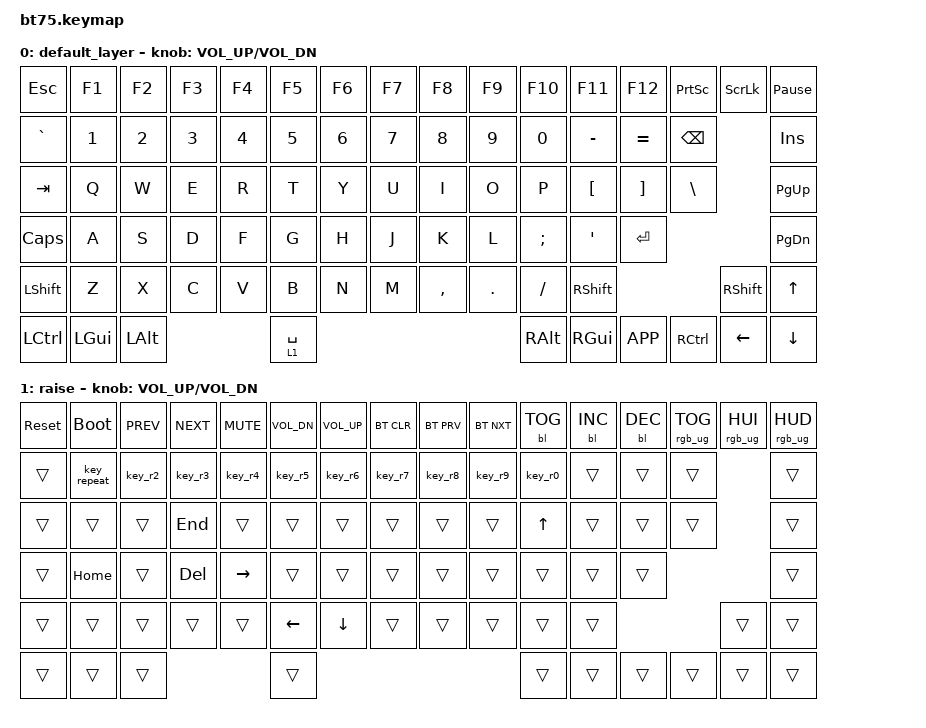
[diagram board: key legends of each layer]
#include <behaviors.dtsi>
#include <dt-bindings/zmk/keys.h>
#include <dt-bindings/zmk/bt.h>
#include <dt-bindings/zmk/rgb.h>
#include <dt-bindings/zmk/backlight.h>
#include <dt-bindings/zmk/ext_power.h>


/ {
    macros {
        key_r2: key_r2 {
            compatible = "zmk,behavior-macro";
            #binding-cells = <0>;
            bindings
                = <&macro_tap &key_repeat>
                , <&macro_tap &key_repeat>
                ;
        };
        key_r3: key_r3 {
            compatible = "zmk,behavior-macro";
            #binding-cells = <0>;
            bindings
                = <&macro_tap &key_repeat>
                , <&macro_tap &key_repeat>
                , <&macro_tap &key_repeat>
                ;
        };
        key_r4: key_r4 {
            compatible = "zmk,behavior-macro";
            #binding-cells = <0>;
            bindings
                = <&macro_tap &key_repeat>
                , <&macro_tap &key_repeat>
                , <&macro_tap &key_repeat>
                , <&macro_tap &key_repeat>
                ;
        };
        key_r5: key_r5 {
            compatible = "zmk,behavior-macro";
            #binding-cells = <0>;
            bindings
                = <&macro_tap &key_repeat>
                , <&macro_tap &key_repeat>
                , <&macro_tap &key_repeat>
                , <&macro_tap &key_repeat>
                , <&macro_tap &key_repeat>
                ;
        };
        key_r6: key_r6 {
            compatible = "zmk,behavior-macro";
            #binding-cells = <0>;
            bindings
                = <&macro_tap &key_repeat>
                , <&macro_tap &key_repeat>
                , <&macro_tap &key_repeat>
                , <&macro_tap &key_repeat>
                , <&macro_tap &key_repeat>
                , <&macro_tap &key_repeat>
                ;
        };
        key_r7: key_r7 {
            compatible = "zmk,behavior-macro";
            #binding-cells = <0>;
            bindings
                = <&macro_tap &key_repeat>
                , <&macro_tap &key_repeat>
                , <&macro_tap &key_repeat>
                , <&macro_tap &key_repeat>
                , <&macro_tap &key_repeat>
                , <&macro_tap &key_repeat>
                , <&macro_tap &key_repeat>
                ;
        };
        key_r8: key_r8 {
            compatible = "zmk,behavior-macro";
            #binding-cells = <0>;
            bindings
                = <&macro_tap &key_repeat>
                , <&macro_tap &key_repeat>
                , <&macro_tap &key_repeat>
                , <&macro_tap &key_repeat>
                , <&macro_tap &key_repeat>
                , <&macro_tap &key_repeat>
                , <&macro_tap &key_repeat>
                , <&macro_tap &key_repeat>
                ;
        };
        key_r9: key_r9 {
            compatible = "zmk,behavior-macro";
            #binding-cells = <0>;
            bindings
                = <&macro_tap &key_repeat>
                , <&macro_tap &key_repeat>
                , <&macro_tap &key_repeat>
                , <&macro_tap &key_repeat>
                , <&macro_tap &key_repeat>
                , <&macro_tap &key_repeat>
                , <&macro_tap &key_repeat>
                , <&macro_tap &key_repeat>
                , <&macro_tap &key_repeat>
                ;
        };
        key_r0: key_r0 {
            compatible = "zmk,behavior-macro";
            #binding-cells = <0>;
            bindings
                = <&macro_tap &key_repeat>
                , <&macro_tap &key_repeat>
                , <&macro_tap &key_repeat>
                , <&macro_tap &key_repeat>
                , <&macro_tap &key_repeat>
                , <&macro_tap &key_repeat>
                , <&macro_tap &key_repeat>
                , <&macro_tap &key_repeat>
                , <&macro_tap &key_repeat>
                , <&macro_tap &key_repeat>
                ;
        };
    };
};

/ {
    keymap {
        compatible = "zmk,keymap";
        default_layer {
                // ---------------------------------------------------------------------------------------------------------------------------------
                // | ESC   | F1    | F2    | F3    | F4    | F5    | F6    | F7    | F8    | F9    | F10   | F11   | F12   | PSCRN | SLCK  | PAUSE |
                // | `     | 1     | 2     | 3     | 4     | 5     | 6     | 7     | 8     | 9     | 0     | -     | =     | BKSP          | INS   |
                // | TAB       | Q     | W     | E     | R     | T     | Y     | U     | I     | O     | P     | [     | ]     | \         | PG_UP |
                // | CLCK        | A     | S     | D     | F     | G     | H     | J     | K     | L     | ;     | '     | RET             | PG_DN |
                // | LSHFT           | Z     | X     | C     | V     | B     | N     | M     | ,     | .     | /     | RSHFT       | RSHFT | UP    |
                // | LCTRL   | LGUI    | LALT    | SPACE                                           | RALT  | RGUI  | K_APP | RCTRL | LEFT  | DOWN  |
                // ---------------------------------------------------------------------------------------------------------------------------------
            bindings = <
                &kp ESC   &kp F1    &kp F2    &kp F3    &kp F4    &kp F5    &kp F6    &kp F7    &kp F8    &kp F9    &kp F10   &kp F11   &kp F12   &kp PSCRN &kp SLCK  &kp PAUSE_BREAK
                &kp GRAVE &kp N1    &kp N2    &kp N3    &kp N4    &kp N5    &kp N6    &kp N7    &kp N8    &kp N9    &kp N0    &kp MINUS &kp EQUAL &kp BKSP            &kp INS
                &kp TAB   &kp Q     &kp W     &kp E     &kp R     &kp T     &kp Y     &kp U     &kp I     &kp O     &kp P     &kp LBKT  &kp RBKT  &kp BSLH            &kp PG_UP
                &kp CLCK  &kp A     &kp S     &kp D     &kp F     &kp G     &kp H     &kp J     &kp K     &kp L     &kp SEMI  &kp SQT   &kp RET                       &kp PG_DN
                &kp LSHFT &kp Z     &kp X     &kp C     &kp V     &kp B     &kp N     &kp M     &kp COMMA &kp DOT   &kp FSLH  &kp RSHFT                     &kp RSHFT &kp UP
                &kp LCTRL &kp LGUI  &kp LALT                      &lt 1 SPACE                                       &kp RALT  &kp RGUI  &kp K_APP &kp RCTRL &kp LEFT  &kp DOWN
            >;
            sensor-bindings = <&inc_dec_kp C_VOL_UP C_VOL_DN>;
        };
        raise {
            bindings = <
                &sys_reset &bootloader &kp C_PREV &kp C_NEXT &kp C_MUTE &kp C_VOL_DN &kp C_VOL_UP &bt BT_CLR &bt BT_PRV &bt BT_NXT &bl BL_TOG &bl BL_INC &bl BL_DEC &rgb_ug RGB_TOG &rgb_ug RGB_HUI &rgb_ug RGB_HUD
                &trans    &key_repeat &key_r2 &key_r3   &key_r4   &key_r5   &key_r6   &key_r7   &key_r8   &key_r9   &key_r0   &trans    &trans    &trans              &trans
                &trans    &trans    &trans    &kp END   &trans    &trans    &trans    &trans    &trans    &trans    &kp UP    &trans    &trans    &trans              &trans
                &trans    &kp HOME  &trans    &kp DEL   &kp RIGHT &trans    &trans    &trans    &trans    &trans    &trans    &trans    &trans                        &trans
                &trans    &trans    &trans    &trans    &trans    &kp LEFT  &kp DOWN  &trans    &trans    &trans    &trans    &trans                        &trans    &trans
                &trans    &trans    &trans                        &trans                                            &trans    &trans    &trans    &trans    &trans    &trans
            >;
            sensor-bindings = <&inc_dec_kp C_VOL_UP C_VOL_DN>;
        };
    };
};
